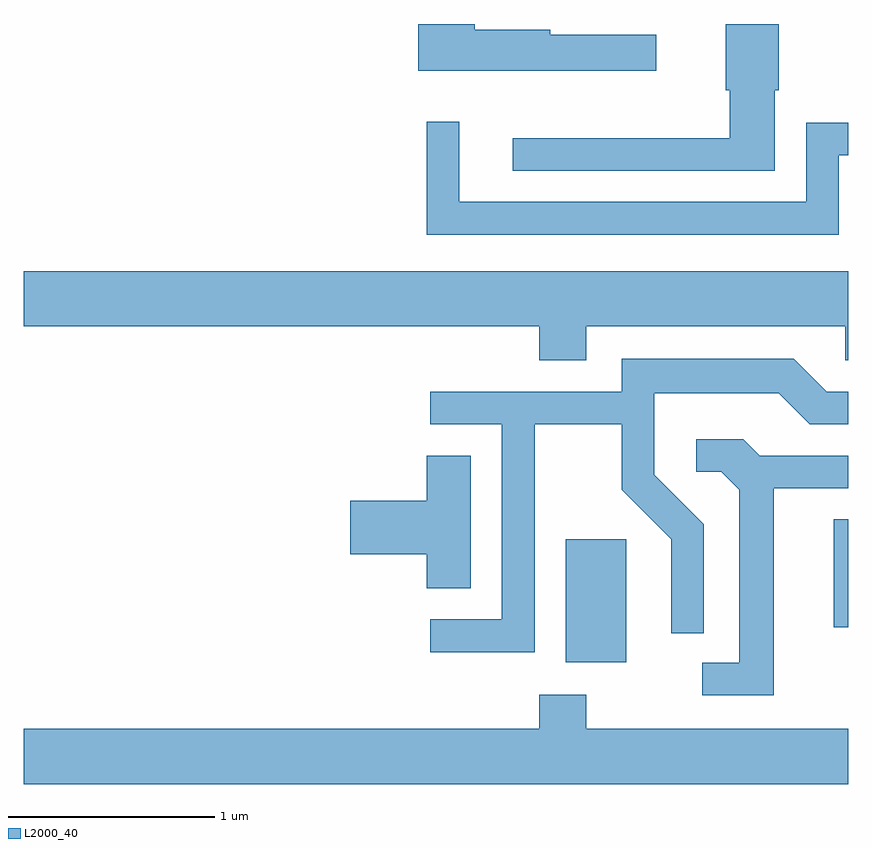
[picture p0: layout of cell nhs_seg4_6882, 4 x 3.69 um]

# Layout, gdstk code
import gdstk
lib = gdstk.Library(unit=1e-6, precision=1e-09)
def R(c, l, rs):  # rectangles x0, y0, x1, y1
    for r in rs: c.add(gdstk.rectangle(r[:2], r[2:], *l))
def P(c, l, *ps):  # polygons
    for p in ps: c.add(gdstk.Polygon(p, *l))
L2000_40 = (2000, 40)

nhs_seg4_6882 = lib.new_cell('nhs_seg4_6882')
R(nhs_seg4_6882, L2000_40, [(390.241,1290.886,390.534,1291.484), (391.541,1291.056,391.611,1291.579)])
P(nhs_seg4_6882, L2000_40, [(391.254,1293.661),(391.274,1293.661),(391.274,1293.982),(391.016,1293.982),(391.016,1293.661),(391.036,1293.661),(391.036,1293.429),(389.983,1293.429),(389.983,1293.271),(391.254,1293.271)],
  [(390.679,1293.929),(390.164,1293.929),(390.164,1293.954),(389.799,1293.954),(389.799,1293.982),(389.526,1293.982),(389.526,1293.756),(390.679,1293.756)],
  [(391.564,1293.346),(391.611,1293.346),(391.611,1293.504),(391.406,1293.504),(391.406,1293.119),(389.724,1293.119),(389.724,1293.508),(389.566,1293.508),(389.566,1292.961),(391.564,1292.961)],
  [(390.339,1292.516),(391.596,1292.516),(391.596,1292.351),(391.611,1292.351),(391.611,1292.784),(387.611,1292.784),(387.611,1292.516),(390.111,1292.516),(390.111,1292.351),(390.339,1292.351)],
  [(390.089,1292.041),(390.511,1292.041),(390.511,1291.724),(390.751,1291.484),(390.751,1291.028),(390.909,1291.028),(390.909,1291.557),(390.669,1291.797),(390.669,1292.191),(391.274,1292.191),(391.424,1292.041),(391.611,1292.041),(391.611,1292.199),(391.507,1292.199),(391.347,1292.359),(390.511,1292.359),(390.511,1292.199),(389.583,1292.199),(389.583,1292.041),(389.931,1292.041),(389.931,1291.094),(389.583,1291.094),(389.583,1290.936),(390.089,1290.936)],
  [(391.249,1291.731),(391.611,1291.731),(391.611,1291.889),(391.182,1291.889),(391.102,1291.969),(390.873,1291.969),(390.873,1291.811),(390.994,1291.811),(391.081,1291.724),(391.081,1290.884),(390.903,1290.884),(390.903,1290.726),(391.249,1290.726)],
  [(389.779,1291.889),(389.566,1291.889),(389.566,1291.669),(389.196,1291.669),(389.196,1291.411),(389.566,1291.411),(389.566,1291.246),(389.779,1291.246)],
  [(391.611,1290.564),(390.339,1290.564),(390.339,1290.729),(390.111,1290.729),(390.111,1290.564),(387.611,1290.564),(387.611,1290.296),(391.611,1290.296)])

lib.write_gds('nhs_seg4_6882.gds')
